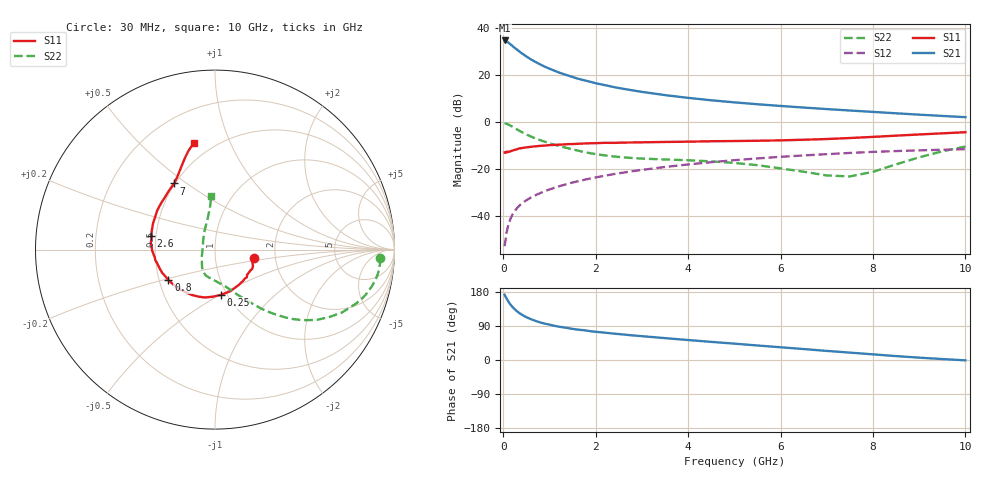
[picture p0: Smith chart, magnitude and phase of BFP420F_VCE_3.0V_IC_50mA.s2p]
! Infineon Technologies  Discrete & RF Semiconductors
! BFP420F
! VCE =  3.0 V,  IC =  50 mA
! Common Emitter S-Parameters:  Sep 2011
# GHz  S  MA  R  50
!  f  S11  S21  S12  S22
! GHz  MAG  ANG  MAG  ANG  MAG  ANG  MAG  ANG
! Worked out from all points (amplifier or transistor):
!   54 points, 30 MHz to 10 GHz, reference 50 ohm
!   highest |S21| = 34.6 dB at 30 MHz (marker M1)
!   |S21| within 3 dB of that: start of sweep to 239.8 MHz
!   unconditionally stable (mu >= 1): 1.263 GHz to end of sweep
!   at 120 MHz: K = 0.42, MSG = 38.4 dB, |S12| = -43.2 dB
!   at 1.3 GHz: K = 1.01, MAG = 23.1 dB, |S12| = -26.8 dB
!   at 10 GHz: K = 1.22, MAG = 4.0 dB, |S12| = -11.6 dB
!   S11 on the Smith chart (normalised r, x): 30 MHz: 1.55, -0.15; 250 MHz: 0.94, -0.51; 800 MHz: 0.56, -0.21; 2.6 GHz: 0.47, +0.08; 7 GHz: 0.49, +0.45; 10 GHz: 0.40, +0.74
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0.03  0.2239 -12.0  53.6 172.2  0.0023 90.4  0.9208 -3.0
0.05  0.2195 -18.5  52.35 167.2  0.0031 86.9  0.9213 -6.6
0.07  0.2337 -27.3  51.5 162.9  0.0044 85.0  0.9126 -10.0
0.08  0.2292 -30.2  50.53 160.6  0.0047 83.1  0.9055 -11.5
0.1  0.2273 -38.3  49.33 156.4  0.0059 79.6  0.8894 -14.5
0.12  0.2318 -45.4  47.58 152.5  0.0069 80.7  0.8712 -17.3
0.15  0.2367 -54.6  44.92 147.4  0.0084 78.4  0.8408 -21.0
0.2  0.2469 -69.5  40.94 140.2  0.0109 76.2  0.7893 -26.4
0.25  0.2543 -82.2  37.21 133.8  0.0128 74.2  0.7374 -30.7
0.35  0.273 -102.3  31.24 123.8  0.0167 71.7  0.6478 -37.4
0.45  0.2835 -116.5  26.55 116.2  0.0201 70.2  0.5757 -42.1
0.6  0.2965 -132.4  21.25 107.6  0.0248 69.3  0.4889 -47.3
0.8  0.3101 -146.7  16.62 99.1  0.0308 69.0  0.4102 -52.4
1  0.3216 -156.3  13.49 93.2  0.0368 68.9  0.3525 -56.5
1.2  0.3284 -164.0  11.24 88.0  0.0426 68.4  0.3093 -60.4
1.7  0.3457 -177.1  7.877 79.1  0.0574 67.3  0.235 -69.7
2.6  0.3638 168.0  5.044 67.3  0.0839 63.6  0.1764 -88.0
3.5  0.3751 156.7  3.707 57.7  0.1104 58.9  0.1592 -102.4
5.5  0.398 137.8  2.371 38.3  0.1677 46.2  0.1206 -126.9
7  0.433 121.7  1.872 24.0  0.2067 36.0  0.0729 -167.0
8.5  0.5108 110.8  1.523 10.3  0.2405 25.0  0.1255 116.7
10  0.6045 101.3  1.262 -0.9  0.2636 15.5  0.2998 93.8
